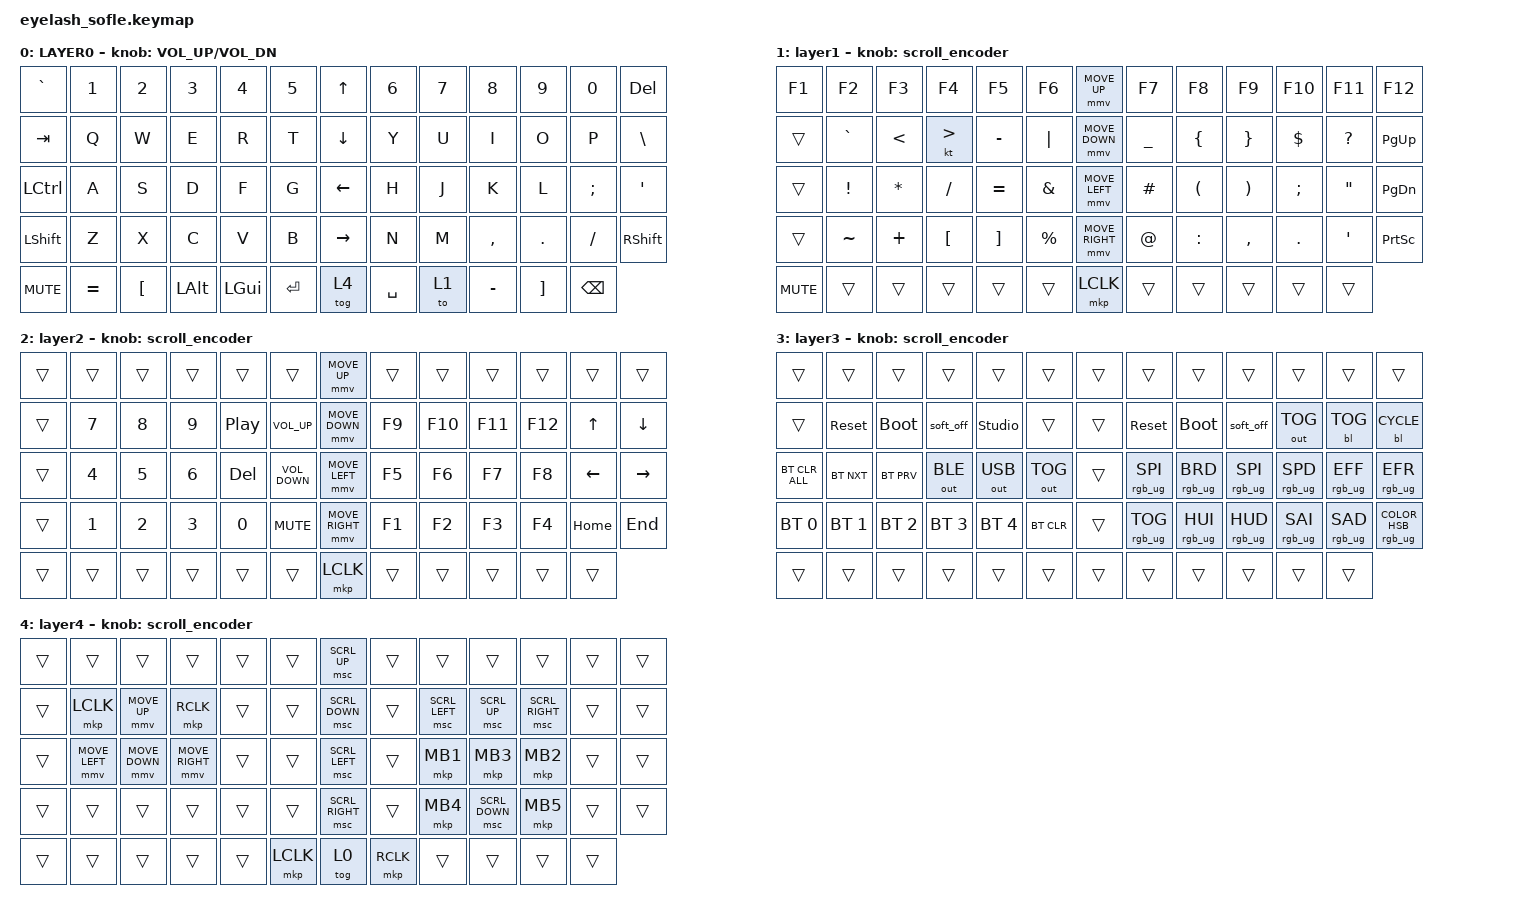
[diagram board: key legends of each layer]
#define ZMK_POINTING_DEFAULT_MOVE_VAL 1200  // 600
#define ZMK_POINTING_DEFAULT_SCRL_VAL 25   // 10

#include <input/processors.dtsi>
#include <zephyr/dt-bindings/input/input-event-codes.h>
#include <behaviors.dtsi>
#include <dt-bindings/zmk/backlight.h>
#include <dt-bindings/zmk/bt.h>
#include <dt-bindings/zmk/keys.h>
#include <dt-bindings/zmk/outputs.h>
#include <dt-bindings/zmk/pointing.h>
#include <dt-bindings/zmk/rgb.h>

&mmv_input_listener { input-processors = <&zip_xy_scaler 2 1>; };

&msc_input_listener { input-processors = <&zip_scroll_scaler 2 1>; };

&msc {
    acceleration-exponent = <1>;      // 0
    time-to-max-speed-ms = <100>;       // 300
    delay-ms = <0>;                   // 0
};

&mmv {
    time-to-max-speed-ms = <500>;
    acceleration-exponent = <1>;
    trigger-period-ms = <16>;
};

&soft_off { hold-time-ms = <2000>; };

/ {
    scroll_encoder: scroll_encoder {
        compatible = "zmk,behavior-sensor-rotate";
        #sensor-binding-cells = <0>;
        bindings = <&msc SCRL_DOWN>, <&msc SCRL_UP>;

        tap-ms = <100>;
    };

    behaviors {
    };

    combos {
        compatible = "zmk,combos";

        softoff {
            bindings = <&soft_off>;
            key-positions = <14 28 40>;
        };
    };

    keymap {
        compatible = "zmk,keymap";

        layer0 {
            bindings = <
&kp GRAVE         &kp N1     &kp N2            &kp N3        &kp N4        &kp N5       &kp UP_ARROW     &kp N6     &kp N7  &kp N8     &kp N9             &kp N0         &kp DELETE
&kp TAB           &kp Q      &kp W             &kp E         &kp R         &kp T        &kp DOWN_ARROW   &kp Y      &kp U   &kp I      &kp O              &kp P          &kp BSLH
&kp LEFT_CONTROL  &kp A      &kp S             &kp D         &kp F         &kp G        &kp LEFT_ARROW   &kp H      &kp J   &kp K      &kp L              &kp SEMI       &kp APOS
&kp LSHFT         &kp Z      &kp X             &kp C         &kp V         &kp B        &kp RIGHT_ARROW  &kp N      &kp M   &kp COMMA  &kp DOT            &kp FSLH       &kp RIGHT_SHIFT
&kp C_MUTE        &kp EQUAL  &kp LEFT_BRACKET  &kp LEFT_ALT  &kp LEFT_GUI  &kp ENTER    &tog 4           &kp SPACE  &to 1   &kp MINUS  &kp RIGHT_BRACKET  &kp BACKSPACE
            >;

            sensor-bindings = <&inc_dec_kp C_VOLUME_UP C_VOL_DN>;
            display-name = "LAYER0";
        };

        layer_1 {
            bindings = <
&kp F1      &kp F2     &kp F3         &kp F4            &kp F5             &kp F6         &mmv MOVE_UP     &kp F7     &kp F8                &kp F9                 &kp F10     &kp F11            &kp F12
&trans      &kp GRAVE  &kp LESS_THAN  &kt GREATER_THAN  &kp MINUS          &kp PIPE       &mmv MOVE_DOWN   &kp UNDER  &kp LEFT_BRACE        &kp RIGHT_BRACE        &kp DOLLAR  &kp QUESTION       &kp PAGE_UP
&trans      &kp EXCL   &kp STAR       &kp SLASH         &kp EQUAL          &kp AMPS       &mmv MOVE_LEFT   &kp HASH   &kp LEFT_PARENTHESIS  &kp RIGHT_PARENTHESIS  &kp SEMI    &kp DOUBLE_QUOTES  &kp PAGE_DOWN
&trans      &kp TILDE  &kp PLUS       &kp LEFT_BRACKET  &kp RIGHT_BRACKET  &kp PERCENT    &mmv MOVE_RIGHT  &kp AT     &kp COLON             &kp COMMA              &kp PERIOD  &kp SINGLE_QUOTE   &kp PRINTSCREEN
&kp C_MUTE  &trans     &trans         &trans            &trans             &trans         &mkp LCLK        &trans     &trans                &trans                 &trans      &trans
            >;

            display-name = "layer1";
            sensor-bindings = <&scroll_encoder>;
        };

        layer_2 {
            bindings = <
&trans  &trans        &trans        &trans        &trans            &trans               &mmv MOVE_UP     &trans  &trans   &trans   &trans   &trans        &trans
&trans  &kp N7        &kp NUMBER_8  &kp NUMBER_9  &kp C_PLAY_PAUSE  &kp C_VOLUME_UP      &mmv MOVE_DOWN   &kp F9  &kp F10  &kp F11  &kp F12  &kp UP_ARROW  &kp DOWN_ARROW
&trans  &kp NUMBER_4  &kp N5        &kp NUMBER_6  &kp DELETE        &kp C_VOLUME_DOWN    &mmv MOVE_LEFT   &kp F5  &kp F6   &kp F7   &kp F8   &kp LEFT      &kp RIGHT
&trans  &kp NUMBER_1  &kp NUMBER_2  &kp NUMBER_3  &kp N0            &kp K_MUTE           &mmv MOVE_RIGHT  &kp F1  &kp F2   &kp F3   &kp F4   &kp HOME      &kp END
&trans  &trans        &trans        &trans        &trans            &trans               &mkp LCLK        &trans  &trans   &trans   &trans   &trans
            >;

            display-name = "layer2";
            sensor-bindings = <&scroll_encoder>;
        };

        layer_3 {
            bindings = <
&trans          &trans        &trans        &trans        &trans          &trans          &trans  &trans           &trans           &trans           &trans           &trans           &trans
&trans          &sys_reset    &bootloader   &soft_off     &studio_unlock  &trans          &trans  &sys_reset       &bootloader      &soft_off        &out OUT_TOG     &bl BL_TOG       &bl BL_CYCLE
&bt BT_CLR_ALL  &bt BT_NXT    &bt BT_PRV    &out OUT_BLE  &out OUT_USB    &out OUT_TOG    &trans  &rgb_ug RGB_SPI  &rgb_ug RGB_BRD  &rgb_ug RGB_SPI  &rgb_ug RGB_SPD  &rgb_ug RGB_EFF  &rgb_ug RGB_EFR
&bt BT_SEL 0    &bt BT_SEL 1  &bt BT_SEL 2  &bt BT_SEL 3  &bt BT_SEL 4    &bt BT_CLR      &trans  &rgb_ug RGB_TOG  &rgb_ug RGB_HUI  &rgb_ug RGB_HUD  &rgb_ug RGB_SAI  &rgb_ug RGB_SAD  &rgb_ug RGB_COLOR_HSB(277,100,41)
&trans          &trans        &trans        &trans        &trans          &trans          &trans  &trans           &trans           &trans           &trans           &trans
            >;

            display-name = "layer3";
            sensor-bindings = <&scroll_encoder>;
        };

        layer_4 {
            bindings = <
&trans  &trans          &trans          &trans           &trans  &trans       &msc SCRL_UP     &trans     &trans          &trans          &trans           &trans  &trans
&trans  &mkp LCLK       &mmv MOVE_UP    &mkp RCLK        &trans  &trans       &msc SCRL_DOWN   &trans     &msc SCRL_LEFT  &msc SCRL_UP    &msc SCRL_RIGHT  &trans  &trans
&trans  &mmv MOVE_LEFT  &mmv MOVE_DOWN  &mmv MOVE_RIGHT  &trans  &trans       &msc SCRL_LEFT   &trans     &mkp MB1        &mkp MB3        &mkp MB2         &trans  &trans
&trans  &trans          &trans          &trans           &trans  &trans       &msc SCRL_RIGHT  &trans     &mkp MB4        &msc SCRL_DOWN  &mkp MB5         &trans  &trans
&trans  &trans          &trans          &trans           &trans  &mkp LCLK    &tog 0           &mkp RCLK  &trans          &trans          &trans           &trans
            >;

            display-name = "layer4";
            sensor-bindings = <&scroll_encoder>;
        };
    };
};
